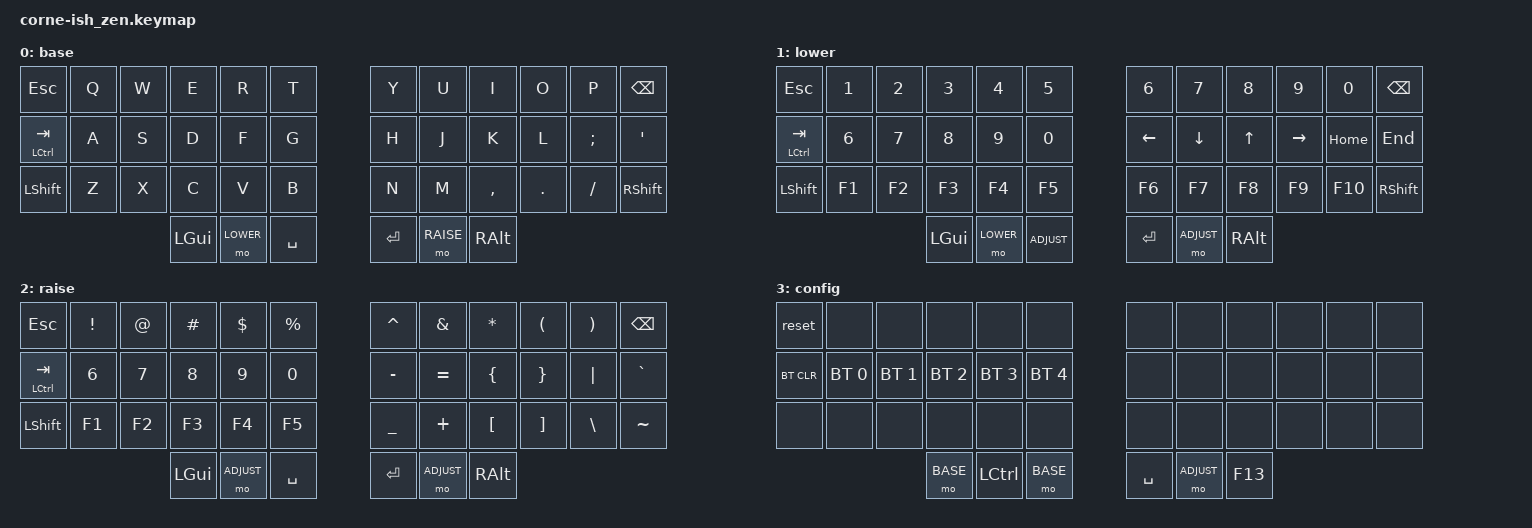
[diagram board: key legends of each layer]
/*
*
* Copyright (c) 2021 lowprokb.ca
* SPDX-License-Identifier: MIT
*
*/

#include <behaviors.dtsi>
#include <dt-bindings/zmk/keys.h>
#include <dt-bindings/zmk/bt.h>

#define BASE 0
#define LOWER 1
#define RAISE 2
#define ADJUST 3


/ {
        keymap {
                compatible = "zmk,keymap";

                default_layer {
                        label = "base";
// -----------------------------------------------------------------------------------------
// | ESC      |  Q  |  W  |  E  |  R  |  T  |   |  Y  |  U   |  I  |  O  |  P  | BKSP |
// | CTRL TAB |  A  |  S  |  D  |  F  |  G  |   |  H  |  J   |  K  |  L  |  ;  |  '   |
// | SHFT     |  Z  |  X  |  C  |  V  |  B  |   |  N  |  M   |  ,  |  .  |  /  | SHIFT  |
//                    | GUI | LWR | ENT |   | SPC | RSE  | ALT |
                        bindings = <
   &kp ESC       &kp Q &kp W &kp E &kp R &kp T   &kp Y &kp U  &kp I     &kp O   &kp P    &kp BSPC
   &mt LCTRL TAB &kp A &kp S &kp D &kp F &kp G   &kp H &kp J  &kp K     &kp L   &kp SEMI &kp SQT
   &kp LSHFT     &kp Z &kp X &kp C &kp V &kp B   &kp N &kp M  &kp COMMA &kp DOT &kp FSLH &kp RSHIFT
                  &kp LGUI &mo LOWER &kp SPACE   &kp RET &mo RAISE &kp RALT
                        >;
                };

                lower_layer {
                        label = "lower";
// -----------------------------------------------------------------------------------------
// | ESC      |  1   |  2   |  3   |  4   |  5   |   |  6     |  7      |  8   |  9      |  0     | BKSP  |
// | CTRL TAB |  6   |  7   |  8   |  9   |  0   |   |  LEFT  |  DOWN   |  UP  |  RIGHT  |  HOME  | END   |
// | SHFT     |  F1  |  F2  |  F3  |  F4  |  F5  |   |  F6    |  F7     |  F8  |  F9     |  F10   | SHIFT |
//                    | GUI | LWR | ENT |   | SPC | RSE  | ALT |
                        bindings = <
   &kp ESC       &kp N1 &kp N2 &kp N3 &kp N4 &kp N5   &kp N6   &kp N7   &kp N8 &kp N9    &kp N0    &kp BSPC
   &mt LCTRL TAB &kp N6 &kp N7 &kp N8 &kp N9 &kp N0   &kp LEFT &kp DOWN &kp UP &kp RIGHT &kp HOME  &kp END
   &kp LSHFT     &kp F1 &kp F2 &kp F3 &kp F4 &kp F5   &kp F6   &kp F7   &kp F8 &kp F9    &kp F10   &kp RSHIFT
                  &kp LGUI &mo LOWER &kp ADJUST   &kp RET &mo ADJUST &kp RALT
                        >;
                };

                raise_layer {
                        label = "raise";
// -----------------------------------------------------------------------------------------
// | ESC      |  !   |  @   |  #   |  $   |  %   |   |  ^  |  &   |  *  |  (  |  )   | BKSP  |
// | CTRL TAB |  6   |  7   |  8   |  9   |  0   |   |  -  |  =   |  {  |  }  |  |   | `     |
// | SHFT     |  F1  |  F2  |  F3  |  F4  |  F5  |   |  _ |  +  |  [ |  ] |  \ | ~ |
//                    | GUI | LWR | ENT |   | SPC | RSE  | ALT |
                        bindings = <
   &kp ESC       &kp EXCL &kp AT &kp HASH &kp DLLR &kp PRCNT   &kp CARET   &kp AMPS   &kp ASTRK &kp LPAR    &kp RPAR    &kp BSPC
   &mt LCTRL TAB &kp N6   &kp N7 &kp N8   &kp N9   &kp N0      &kp MINUS   &kp EQUAL  &kp LBRC  &kp RBRC    &kp PIPE    &kp GRAVE
   &kp LSHFT     &kp F1   &kp F2 &kp F3   &kp F4   &kp F5      &kp UNDER   &kp PLUS   &kp LBKT  &kp RBKT    &kp BSLH    &kp TILDE
                  &kp LGUI &mo ADJUST &kp SPACE   &kp RET &mo ADJUST &kp RALT
                        >;
                };

                adjust_layer {
                        label = "config";
                        bindings = <
   &reset     &none        &none        &none        &none        &none           &none &none &none &none &none &none 
   &bt BT_CLR &bt BT_SEL 0 &bt BT_SEL 1 &bt BT_SEL 2 &bt BT_SEL 3 &bt BT_SEL 4    &none &none &none &none &none &none
   &none      &none        &none        &none        &none        &none           &none &none &none &none &none &none
                                                &mo BASE &kp LCTL &mo BASE    &kp SPC &mo ADJUST &kp F13
                        >;
                };
        };
};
